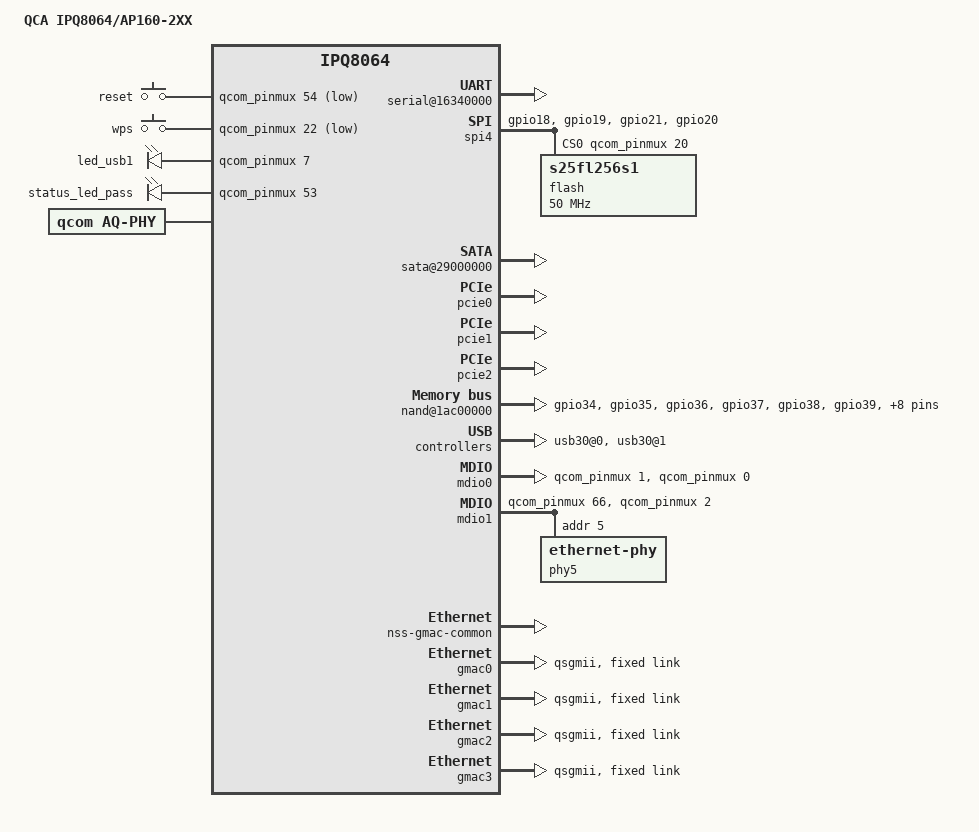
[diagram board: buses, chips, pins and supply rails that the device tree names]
/* Copyright (c) 2015-2016, The Linux Foundation. All rights reserved.
 *
 * Permission to use, copy, modify, and/or distribute this software for any
 * purpose with or without fee is hereby granted, provided that the above
 * copyright notice and this permission notice appear in all copies.
 *
 * THE SOFTWARE IS PROVIDED "AS IS" AND THE AUTHOR DISCLAIMS ALL WARRANTIES
 * WITH REGARD TO THIS SOFTWARE INCLUDING ALL IMPLIED WARRANTIES OF
 * MERCHANTABILITY AND FITNESS. IN NO EVENT SHALL THE AUTHOR BE LIABLE FOR
 * ANY SPECIAL, DIRECT, INDIRECT, OR CONSEQUENTIAL DAMAGES OR ANY DAMAGES
 * WHATSOEVER RESULTING FROM LOSS OF USE, DATA OR PROFITS, WHETHER IN AN
 * ACTION OF CONTRACT, NEGLIGENCE OR OTHER TORTIOUS ACTION, ARISING OUT OF
 * OR IN CONNECTION WITH THE USE OR PERFORMANCE OF THIS SOFTWARE.
 *
 */

#include <dt-bindings/interrupt-controller/arm-gic.h>
#include <dt-bindings/interrupt-controller/irq.h>
#include <dt-bindings/input/input.h>
#include <dt-bindings/gpio/gpio.h>

/ {
	model = "QCA IPQ8064/AP160-2XX";
	compatible = "qcom,ipq8064-ap160_2xx", "qcom,ipq8064";

	reserved-memory {
		#address-cells = <1>;
		#size-cells = <1>;
		ranges;
		rsvd@41200000 {
			reg = <0x41200000 0x300000>;
			no-map;
		};
	};

	aliases {
		mdio-gpio0 = &mdio0;
		mdio-gpio1 = &mdio1;
		/*
		 * U-Boot searches for these entries and patches
		 * 'local-mac-address'
		 */
		ethernet0 = &gmac0;
		ethernet1 = &gmac1;
		ethernet2 = &gmac2;
		ethernet3 = &gmac3;
		serial0 = &uart4;
	};

	soc {
		pinmux@800000 {
			pinctrl-0 = <&rgmii2_pins &mdio0_pins
				     &mdio1_pins
				     &pcie_2g_pwrdwn_default
				     &pcie_5g_pwrdwn_default>;
			pinctrl-names = "default";

			pcie_2g_pwrdwn_default: pcie_2g_pwrdwn_default {
				mux {
					pins = "gpio9";
					drive-strength = <12>;
					bias-pull-up;
					output-high;
				};
			};

			pcie_5g_pwrdwn_default: pcie_5g_pwrdwn_default {
				mux {
					pins = "gpio26";
					drive-strength = <12>;
					bias-pull-up;
					output-high;
				};
			};

			spi_pins: spi_pins {
				mux {
					pins = "gpio18", "gpio19", "gpio21";
					function = "gsbi5";
					drive-strength = <10>;
					bias-none;
				};
				cs {
					pins = "gpio20";
					drive-strength = <12>;
				};
			};

			nand_pins: nand_pins {
				mux {
					pins = "gpio34", "gpio35", "gpio36",
						"gpio37", "gpio38", "gpio39",
						"gpio40", "gpio41", "gpio42",
						"gpio43", "gpio44", "gpio45",
						"gpio46", "gpio47";
					function = "nand";
					drive-strength = <10>;
					bias-disable;
				};
				pullups {
					pins = "gpio39";
					bias-pull-up;
				};
				hold {
					pins = "gpio40", "gpio41", "gpio42",
						"gpio43", "gpio44", "gpio45",
						"gpio46", "gpio47";
					bias-bus-hold;
				};
			};

			button_pins: button_pinmux {
				mux {
					pins = "gpio22", "gpio54";
					drive-strength = <2>;
					bias-pull-up;
				};
			};

			leds_pins: leds_pins {
				mux {
					pins = "gpio7", "gpio53";
					function = "gpio";
					drive-strength = <2>;
					bias-pull-down;
					output-low;
				};
			};

			mdio0_pins: mdio0_pins {
				mux {
					pins = "gpio0", "gpio1";
					function = "gpio";
					drive-strength = <8>;
					bias-disable;
				};
			};

			mdio1_pins: mdio1_pins {
				mux {
					pins = "gpio2", "gpio66";
					function = "gpio";
					drive-strength = <8>;
					bias-disable;
				};
			};

			rgmii2_pins: rgmii2_pins {
				mux {
					pins = "gpio27", "gpio28", "gpio29",
						"gpio30", "gpio31", "gpio32",
					       "gpio51", "gpio52", "gpio59",
						"gpio60", "gpio61", "gpio62" ;
					function = "rgmii2";
					drive-strength = <8>;
					bias-disable;
				};
			};
		};

		gsbi@16300000 {
			qcom,mode = <GSBI_PROT_I2C_UART>;
			status = "ok";
			serial@16340000 {
				status = "ok";
			};
			/*
			 * The i2c device on gsbi4 should not be enabled.
			 * On ipq806x designs gsbi4 i2c is meant for exclusive
			 * RPM usage. Turning this on in kernel manifests as
			 * i2c failure for the RPM.
			 */
		};

		gsbi5: gsbi@1a200000 {
			qcom,mode = <GSBI_PROT_SPI>;
			status = "ok";

			spi4: spi@1a280000 {
				status = "ok";
				spi-max-frequency = <50000000>;

				pinctrl-0 = <&spi_pins>;
				pinctrl-names = "default";

				cs-gpios = <&qcom_pinmux 20 0>;
				dmas = <&adm_dma 6>, <&adm_dma 5>;
				dma-names = "rx", "tx";
				qcom,rx-crci = <9>;
				qcom,tx-crci = <10>;

				flash: m25p80@0 {
					compatible = "s25fl256s1";
					#address-cells = <1>;
					#size-cells = <1>;
					spi-max-frequency = <50000000>;
					reg = <0>;
					m25p,fast-read;
				};
			};
		};

		sata-phy@1b400000 {
			status = "ok";
		};

		sata@29000000 {
			status = "ok";
		};

		pcie0: pci@1b500000 {
			status = "ok";
		};

		pcie1: pci@1b700000 {
			status = "ok";
		};

		pcie2: pci@1b900000 {
			status = "ok";
		};

		nand@1ac00000 {
			status = "ok";

			pinctrl-0 = <&nand_pins>;
			pinctrl-names = "default";

			nand-ecc-strength = <4>;
			nand-bus-width = <8>;
		};

		phy@100f8800 {		/* USB3 port 1 HS phy */
			status = "ok";
		};

		phy@100f8830 {		/* USB3 port 1 SS phy */
			status = "ok";
		};

		usb30@0 {
			status = "ok";
		};

		phy@110f8800 {		/* USB3 port 0 HS phy */
			status = "ok";
		};

		phy@110f8830 {		/* USB3 port 0 SS phy */
			status = "ok";
		};

		usb30@1 {
			status = "ok";
		};

		gpio_keys {
			compatible = "gpio-keys";
			pinctrl-0 = <&button_pins>;
			pinctrl-names = "default";

			button@1 {
				label = "reset";
				linux,code = <KEY_RESTART>;
				gpios = <&qcom_pinmux 54 GPIO_ACTIVE_LOW>;
				linux,input-type = <1>;
				debounce-interval = <60>;
			};
			button@2 {
				label = "wps";
				linux,code = <KEY_WPS_BUTTON>;
				gpios = <&qcom_pinmux 22 GPIO_ACTIVE_LOW>;
				linux,input-type = <1>;
				debounce-interval = <60>;
			};
		};

		leds {
			compatible = "gpio-leds";
			pinctrl-0 = <&leds_pins>;
			pinctrl-names = "default";

			led@7 {
				label = "led_usb1";
				gpios = <&qcom_pinmux 7 GPIO_ACTIVE_HIGH>;
				linux,default-trigger = "usbdev";
				default-state = "off";
			};

			led@53 {
				label = "status_led_pass";
				gpios = <&qcom_pinmux 53 GPIO_ACTIVE_HIGH>;
				default-state = "off";
			};
		};

		mdio0: mdio0 {
			compatible = "virtual,mdio-gpio";
			#address-cells = <1>;
			#size-cells = <0>;
			gpios = <&qcom_pinmux 1 0 &qcom_pinmux 0 0>;
		};

		mdio1: mdio1 {
			compatible = "virtual,mdio-gpio";
			#address-cells = <1>;
			#size-cells = <0>;
			gpios = <&qcom_pinmux 66 0 &qcom_pinmux 2 0>;

			phy5: ethernet-phy@5 {
				device_type = "ethernet-phy";
				reg = <5>;
			};
		};

		nss0: nss@40000000 {
			compatible = "qcom,nss";
			interrupts = <GIC_SPI 213 IRQ_TYPE_LEVEL_HIGH>,
				     <GIC_SPI 232 IRQ_TYPE_LEVEL_HIGH>;
			reg = <0x36000000 0x1000 0x39000000 0x10000>;
			reg-names = "nphys", "vphys";
			clocks = <&gcc NSS_CORE_CLK>, <&gcc NSSTCM_CLK_SRC>,
				 <&gcc NSSTCM_CLK>, <&nss_fabric0_clk>,
				 <&nss_fabric1_clk>;
			clock-names = "nss-core-clk", "nss-tcm-src",
				      "nss-tcm-clk", "nss-fab0-clk",
				      "nss-fab1-clk";
			resets = <&gcc UBI32_CORE1_CLKRST_CLAMP_RESET>,
				 <&gcc UBI32_CORE1_CLAMP_RESET>,
				 <&gcc UBI32_CORE1_AHB_RESET>,
				 <&gcc UBI32_CORE1_AXI_RESET>;
			reset-names = "clkrst-clamp", "clamp", "ahb", "axi";

			qcom,id = <0>;
			qcom,num-irq = <2>;
			qcom,num-queue = <2>;
			qcom,load-addr = <0x40000000>;
			qcom,turbo-frequency;

			qcom,ipv4-enabled;
			qcom,ipv6-enabled;
			qcom,l2tpv2-enabled;
			qcom,gre-enabled;
			qcom,map-t-enabled;
			qcom,pppoe-enabled;
			qcom,pptp-enabled;
			qcom,portid-enabled;
			qcom,shaping-enabled;
			qcom,tun6rd-enabled;
			qcom,tunipip6-enabled;
			qcom,wlan-dataplane-offload-enabled;
			qcom,wlanredirect-enabled;
		};

		nss1: nss@40800000 {
			compatible = "qcom,nss";
			interrupts = <GIC_SPI 214 IRQ_TYPE_LEVEL_HIGH>,
				     <GIC_SPI 233 IRQ_TYPE_LEVEL_HIGH>;
			reg = <0x36400000 0x1000 0x39010000 0x10000>;
			reg-names = "nphys", "vphys";
			resets = <&gcc UBI32_CORE2_CLKRST_CLAMP_RESET>,
				 <&gcc UBI32_CORE2_CLAMP_RESET>,
				 <&gcc UBI32_CORE2_AHB_RESET>,
				 <&gcc UBI32_CORE2_AXI_RESET>;
			reset-names = "clkrst-clamp", "clamp", "ahb", "axi";

			qcom,id = <1>;
			qcom,num-irq = <2>;
			qcom,num-queue = <2>;
			qcom,load-addr = <0x40800000>;
			qcom,turbo-frequency;

			qcom,capwap-enabled;
			qcom,crypto-enabled;
			qcom,dtls-enabled;
			qcom,ipsec-enabled;
		};

		 nss-gmac-common {
			compatible = "qcom,nss-gmac-common";
			reg = <0x03000000 0x0000FFFF 0x1bb00000 0x0000FFFF 0x00900000 0x00004000>;
			reg-names = "nss_reg_base" , "qsgmii_reg_base", "clk_ctl_base";
			qcom,gmac-phy-profile = <2>;
		};

		gmac0: ethernet@37000000 {
			status = "ok";
			device_type = "network";
			compatible = "qcom,nss-gmac";
			reg = <0x37000000 0x200000>;
			interrupts = <GIC_SPI 220 IRQ_TYPE_LEVEL_HIGH>;
			phy-mode = "qsgmii";
			qcom,id = <0>;
			qcom,pcs-chanid = <0>;
			qcom,phy-mdio-addr = <5>;
			qcom,poll-required = <1>;
			qcom,rgmii-delay = <0>;
			qcom,emulation = <0>;
			qcom,forced-speed = <1000>;
			qcom,forced-duplex = <1>;
			qcom,mmds-mask = <0>;
			qcom,socver = <0>;
			local-mac-address = [000000000000];
			mdiobus = <&mdio1>;

			fixed-link {
				speed = <1000>;
				full-duplex;
			};
		};

		gmac1: ethernet@37200000 {
			status = "ok";
			device_type = "network";
			compatible = "qcom,nss-gmac";
			reg = <0x37200000 0x200000>;
			interrupts = <GIC_SPI 223 IRQ_TYPE_LEVEL_HIGH>;
			phy-mode = "qsgmii";
			qcom,id = <1>;
			qcom,pcs-chanid = <1>;
			qcom,phy-mdio-addr = <16>;
			qcom,poll-required = <1>;
			qcom,rgmii-delay = <0>;
			qcom,emulation = <0>;
			qcom,forced-speed = <1000>;
			qcom,forced-duplex = <1>;
			qcom,mmds-mask = <0x6000009a>;
			qcom,socver = <0>;
			local-mac-address = [000000000000];
			mdiobus = <&mdio1>;

			fixed-link {
				speed = <1000>;
				full-duplex;
			};
		};

		gmac2: ethernet@37400000 {
			status = "ok";
			device_type = "network";
			compatible = "qcom,nss-gmac";
			reg = <0x37400000 0x200000>;
			interrupts = <GIC_SPI 226 IRQ_TYPE_LEVEL_HIGH>;
			phy-mode = "qsgmii";
			qcom,id = <2>;
			qcom,pcs-chanid = <2>;
			qcom,phy-mdio-addr = <32>;
			qcom,poll-required = <0>;
			qcom,rgmii-delay = <0>;
			qcom,emulation = <0>;
			qcom,forced-speed = <1000>;
			qcom,forced-duplex = <1>;
			qcom,mmds-mask = <0>;
			qcom,socver = <0>;
			local-mac-address = [000000000000];
			mdiobus = <&mdio1>;

			fixed-link {
				speed = <1000>;
				full-duplex;
			};
		};

                gmac3: ethernet@37600000 {
			status = "ok";
			device_type = "network";
			compatible = "qcom,nss-gmac";
			reg = <0x37600000 0x200000>;
			interrupts = <GIC_SPI 229 IRQ_TYPE_LEVEL_HIGH>;
			phy-mode = "qsgmii";
			qcom,id = <3>;
			qcom,pcs-chanid = <3>;
			qcom,phy-mdio-addr = <32>;
			qcom,poll-required = <0>;
			qcom,rgmii-delay = <0>;
			qcom,emulation = <0>;
			qcom,forced-speed = <1000>;
			qcom,forced-duplex = <1>;
			qcom,mmds-mask = <0>;
			qcom,socver = <0>;
			local-mac-address = [000000000000];
			mdiobus = <&mdio1>;

			fixed-link {
				speed = <1000>;
				full-duplex;
			};
		};

		aq-phy {
			compatible = "qcom,aq-phy";
			qcom,phy-addr = <0x10>;
			mdiobus = <&mdio1>;
		};

		 qca-85xx-sw {
			compatible = "qcom,qca-85xx-sw";
			qcom,sgmii-plus-if-phy-addr = <0x10>;
			qcom,chip-id = <1>;
			qcom,qsgmii-cfg-port-mode = <1>;
			qcom,qsgmii-cfg-port-base = <1>;
			qcom,qsgmii-cfg-is-speed-forced = <1>;
			qcom,qsgmii-cfg-forced-speed = <1000>;
			qcom,qsgmii-cfg-forced-duplex = <1>;
			qcom,port-26-cfg-port-mode = <2>;
			qcom,port-26-cfg-is-speed-forced = <0>;
			qcom,port-27-cfg-port-mode = <3>;
			qcom,port-27-cfg-is-speed-forced = <1>;
			qcom,port-27-cfg-forced-speed = <2500>;
			qcom,port-27-cfg-forced-duplex = <1>;
			qcom,trunk-cfg-is-trunk-enabled = <1>;
			qcom,trunk-cfg-trunk-id = <0>;
			qcom,trunk-cfg-trunk-hash-policy = <0x6f>;
			qcom,trunk-cfg-trunk-ports-bit-map = <0x1c>;
			mdiobus = <&mdio0>;
			sgmii-plus-if-phy-mdiobus = <&mdio1>;
		};

		crypto1: crypto@38000000 {
			compatible = "qcom,nss-crypto";
			reg-names = "crypto_pbase", "bam_base";
			reg = <0x38000000 0x20000>,
			    <0x38004000 0x22000>;
                        resets = <&gcc CRYPTO_ENG1_RESET>,
                                 <&gcc CRYPTO_AHB_RESET>;
                        reset-names = "rst_eng", "rst_ahb";
			clocks = <&gcc CE5_CORE_CLK>, <&gcc CE5_A_CLK>, <&gcc CE5_H_CLK>;
			clock-names = "ce5_core", "ce5_aclk", "ce5_hclk";
			qcom,ee = <0>;
		};

		crypto2: crypto@38400000 {
			compatible = "qcom,nss-crypto";
			reg-names = "crypto_pbase", "bam_base";
			reg = <0x38400000 0x20000>,
			    <0x38404000 0x22000>;
                        resets = <&gcc CRYPTO_ENG2_RESET>;
                        reset-names = "rst_eng";
			qcom,ee = <0>;
		};

		crypto3: crypto@38800000 {
			compatible = "qcom,nss-crypto";
			reg-names = "crypto_pbase", "bam_base";
			reg = <0x38800000 0x20000>,
			    <0x38804000 0x22000>;
                        resets = <&gcc CRYPTO_ENG3_RESET>;
                        reset-names = "rst_eng";
			qcom,ee = <0>;
		};

		crypto4: crypto@38C00000 {
			compatible = "qcom,nss-crypto";
			reg-names = "crypto_pbase", "bam_base";
			reg = <0x38C00000 0x20000>,
			    <0x38C04000 0x22000>;
                        resets = <&gcc CRYPTO_ENG4_RESET>;
                        reset-names = "rst_eng";
			qcom,ee = <0>;
		};
	};
};

&adm_dma {
	status = "ok";
};
